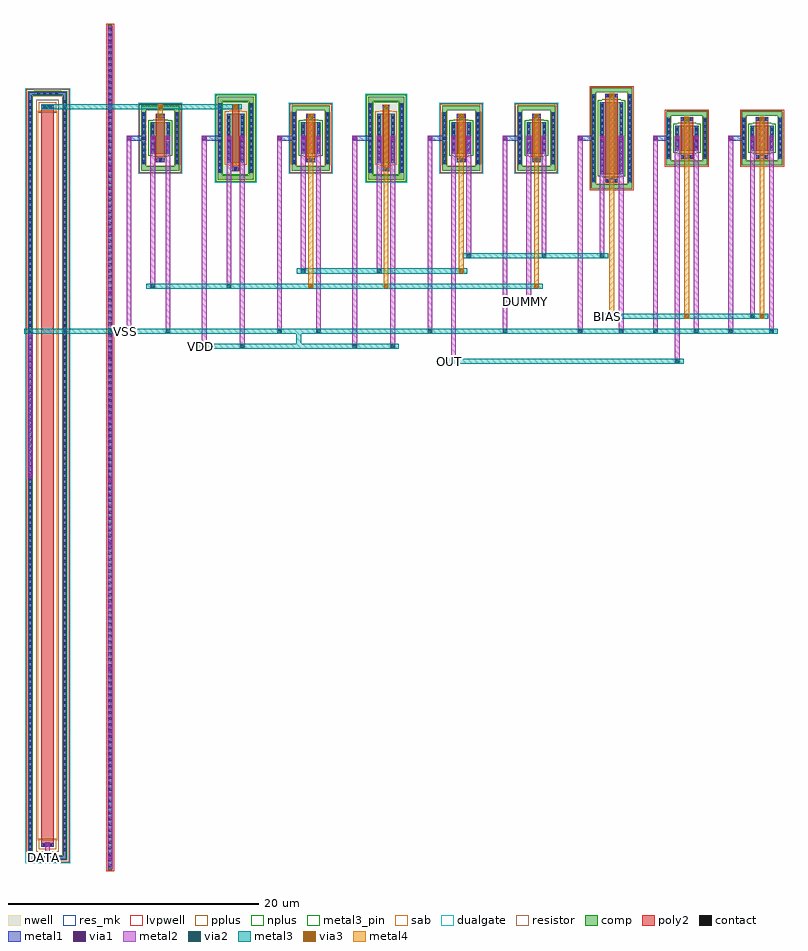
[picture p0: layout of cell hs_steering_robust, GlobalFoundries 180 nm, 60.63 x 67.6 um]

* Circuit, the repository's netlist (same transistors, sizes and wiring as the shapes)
* NGSPICE file created from hs_steering_robust.ext - technology: gf180mcuD

.subckt hs_steering_robust DATA OUT VSS BIAS DUMMY
X0 VSS a_n1100_4414# a_642_3750# VSS nfet_06v0 ad=1.1p pd=5.88u as=1.1p ps=5.88u w=2.5u l=0.7u
X1 a_n1100_4414# DATA VSS ppolyf_u_1k_6p0 r_width=1u r_length=58u
X2 a_5670_3750# a_642_3750# DUMMY VSS nfet_06v0 ad=1.1p pd=5.88u as=1.1p ps=5.88u w=2.5u l=0.7u
X3 VSS BIAS OUT VSS nfet_03v3 ad=0.88p pd=4.88u as=0.88p ps=4.88u w=2u l=1u
X4 a_5670_3750# a_3042_3750# OUT VSS nfet_06v0 ad=1.1p pd=5.88u as=1.1p ps=5.88u w=2.5u l=0.7u
X5 VSS a_n1100_4414# a_642_3750# VSS pfet_06v0 ad=1.7292p pd=8.74u as=1.7292p ps=8.74u w=3.93u l=0.55u
X6 VSS BIAS a_5670_3750# VSS nfet_03v3 ad=2.5344p pd=12.4u as=2.5344p ps=12.4u w=5.76u l=1u
X7 VSS BIAS BIAS VSS nfet_03v3 ad=0.88p pd=4.88u as=0.88p ps=4.88u w=2u l=1u
X8 VSS a_642_3750# a_3042_3750# VSS nfet_06v0 ad=1.1p pd=5.88u as=1.1p ps=5.88u w=2.5u l=0.7u
X9 VSS a_642_3750# a_3042_3750# VSS pfet_06v0 ad=1.7292p pd=8.74u as=1.7292p ps=8.74u w=3.93u l=0.55u
.ends

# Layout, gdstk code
import gdstk
lib = gdstk.Library(unit=1e-6, precision=1e-09)
def R(c, l, rs):  # rectangles x0, y0, x1, y1
    for r in rs: c.add(gdstk.rectangle(r[:2], r[2:], *l))
def A(c, l, x, y, w, h, nx, ny, dx, dy):  # array of equal rectangles
    R(c, l, [(x+i*dx, y+j*dy, x+i*dx+w, y+j*dy+h) for i in range(nx) for j in range(ny)])
def P(c, l, *ps):  # polygons
    for p in ps: c.add(gdstk.Polygon(p, *l))
nwell = (21, 0)
comp = (22, 0)
poly2 = (30, 0)
pplus = (31, 0)
nplus = (32, 0)
contact = (33, 0)
metal1 = (34, 0)
via1 = (35, 0)
metal2 = (36, 0)
via2 = (38, 0)
via3 = (40, 0)
metal3 = (42, 0)
metal3_pin = (42, 10)
metal4 = (46, 0)
sab = (49, 0)
dualgate = (55, 0)
resistor = (62, 0)
res_mk = (110, 5)
lvpwell = (204, 0)

hs_steering_robust = lib.new_cell('hs_steering_robust')
R(hs_steering_robust, nwell, [(8.405,16.535,11.595,23.465), (20.405,16.535,23.595,23.465)])
A(hs_steering_robust, comp, 2.49, 17.41, 3.02, 0.36, 3, 2, 12, 4.82)
A(hs_steering_robust, comp, 3.21, 18.75, 1.58, 2.5, 3, 1, 12, 0)
R(hs_steering_robust, comp, [(-0.18,-38.36,0.18,29), (-6.56,-37.6,-3.44,-37.24), (-6.56,-37.24,-6.2,23.38), (-3.8,-37.24,-3.44,23.38), (38.37,15.97,41.63,16.33), (38.37,16.33,38.73,23.67), (41.27,16.33,41.63,23.67), (8.565,16.695,11.435,17.055), (20.565,16.695,23.435,17.055), (8.565,17.055,8.925,22.945), (11.075,17.055,11.435,22.945), (20.565,17.055,20.925,22.945), (23.075,17.055,23.435,22.945), (39.06,17.12,40.94,22.88), (32.49,17.41,35.51,17.77), (2.49,17.77,2.85,22.23), (5.15,17.77,5.51,22.23), (14.49,17.77,14.85,22.23), (17.15,17.77,17.51,22.23), (26.49,17.77,26.85,22.23), (29.15,17.77,29.51,22.23), (32.49,17.77,32.85,22.23), (35.15,17.77,35.51,22.23), (44.37,17.85,47.63,18.21), (50.37,17.85,53.63,18.21), (9.285,18.035,10.715,21.965), (21.285,18.035,22.715,21.965), (44.37,18.21,44.73,21.79), (47.27,18.21,47.63,21.79), (50.37,18.21,50.73,21.79), (53.27,18.21,53.63,21.79), (33.21,18.75,34.79,21.25), (45.06,19,46.94,21), (51.06,19,52.94,21), (44.37,21.79,47.63,22.15), (50.37,21.79,53.63,22.15), (32.49,22.23,35.51,22.59), (8.565,22.945,11.435,23.305), (20.565,22.945,23.435,23.305), (-6.56,23.38,-3.44,23.74), (38.37,23.67,41.63,24.03)])
A(hs_steering_robust, poly2, 3.65, 18.07, 0.7, 3.86, 3, 1, 12, 0)
R(hs_steering_robust, poly2, [(-5.5,-36.54,-4.5,22.68), (39.5,16.44,40.5,23.56), (9.725,17.355,10.275,22.645), (21.725,17.355,22.275,22.645), (33.65,18.07,34.35,21.93), (45.5,18.32,46.5,21.68), (51.5,18.32,52.5,21.68)])
A(hs_steering_robust, pplus, 2.47, 17.39, 3.06, 0.4, 3, 2, 12, 4.82)
R(hs_steering_robust, pplus, [(-0.21,-38.39,0.21,29.03), (-6.075,-37.63,-3.925,-37.62), (-6.58,-37.62,-3.42,-37.21), (-6.58,-37.21,-6.17,-37.115), (-3.83,-37.21,-3.42,-37.115), (-6.59,-37.115,-6.17,23.255), (-3.83,-37.115,-3.41,23.255), (-5.7,-36.74,-4.3,-35.93), (38.35,15.95,41.65,16.35), (38.35,16.35,38.76,16.455), (41.24,16.35,41.65,16.455), (38.34,16.455,38.76,23.545), (41.24,16.455,41.66,23.545), (32.47,17.39,35.53,17.79), (2.47,17.79,2.88,17.895), (5.12,17.79,5.53,17.895), (14.47,17.79,14.88,17.895), (17.12,17.79,17.53,17.895), (26.47,17.79,26.88,17.895), (29.12,17.79,29.53,17.895), (32.47,17.79,32.88,17.895), (35.12,17.79,35.53,17.895), (9.495,17.805,10.505,17.875), (21.495,17.805,22.505,17.875), (44.35,17.83,47.65,18.23), (50.35,17.83,53.65,18.23), (9.125,17.875,10.875,22.125), (21.125,17.875,22.875,22.125), (2.46,17.895,2.88,22.105), (5.12,17.895,5.54,22.105), (14.46,17.895,14.88,22.105), (17.12,17.895,17.54,22.105), (26.46,17.895,26.88,22.105), (29.12,17.895,29.54,22.105), (32.46,17.895,32.88,22.105), (35.12,17.895,35.54,22.105), (44.35,18.23,44.76,18.335), (47.24,18.23,47.65,18.335), (50.35,18.23,50.76,18.335), (53.24,18.23,53.65,18.335), (44.34,18.335,44.76,21.665), (47.24,18.335,47.66,21.665), (50.34,18.335,50.76,21.665), (53.24,18.335,53.66,21.665), (44.35,21.665,44.76,21.77), (47.24,21.665,47.65,21.77), (50.35,21.665,50.76,21.77), (53.24,21.665,53.65,21.77), (44.35,21.77,47.65,22.17), (50.35,21.77,53.65,22.17), (-5.7,22.07,-4.3,22.88), (2.47,22.105,2.88,22.21), (5.12,22.105,5.53,22.21), (14.47,22.105,14.88,22.21), (17.12,22.105,17.53,22.21), (26.47,22.105,26.88,22.21), (29.12,22.105,29.53,22.21), (32.47,22.105,32.88,22.21), (35.12,22.105,35.53,22.21), (9.495,22.125,10.505,22.195), (21.495,22.125,22.505,22.195), (32.47,22.21,35.53,22.61), (-6.58,23.255,-6.17,23.35), (-3.83,23.255,-3.42,23.35), (-6.58,23.35,-3.42,23.76), (38.35,23.545,38.76,23.65), (41.24,23.545,41.65,23.65), (38.35,23.65,41.65,24.05), (-6.075,23.76,-3.925,23.77)])
A(hs_steering_robust, nplus, 3.42, 18.52, 1.16, 0.07, 3, 2, 12, 2.89)
A(hs_steering_robust, nplus, 3.05, 18.59, 1.9, 2.82, 3, 1, 12, 0)
R(hs_steering_robust, nplus, [(8.405,16.535,11.595,17.125), (20.405,16.535,23.595,17.125), (39.27,16.89,40.73,16.96), (38.9,16.96,41.1,23.04), (8.405,17.125,8.995,22.875), (11.005,17.125,11.595,22.875), (20.405,17.125,20.995,22.875), (23.005,17.125,23.595,22.875), (33.42,18.52,34.58,18.59), (33.05,18.59,34.95,21.41), (45.27,18.77,46.73,18.84), (51.27,18.77,52.73,18.84), (44.9,18.84,47.1,21.16), (50.9,18.84,53.1,21.16), (45.27,21.16,46.73,21.23), (51.27,21.16,52.73,21.23), (33.42,21.41,34.58,21.48), (8.405,22.875,11.595,23.465), (20.405,22.875,23.595,23.465), (39.27,23.04,40.73,23.11)])
A(hs_steering_robust, contact, -0.11, -38.16, 0.22, 0.22, 1, 143, 0, 0.47)
A(hs_steering_robust, contact, -5.815, -37.53, 0.22, 0.22, 4, 2, 0.47, 60.98)
A(hs_steering_robust, contact, -6.49, -36.885, 0.22, 0.22, 1, 128, 0, 0.47)
A(hs_steering_robust, contact, -3.73, -36.885, 0.22, 0.22, 1, 128, 0, 0.47)
A(hs_steering_robust, contact, 38.44, 16.6, 0.22, 0.22, 1, 15, 0, 0.47)
A(hs_steering_robust, contact, 41.34, 16.6, 0.22, 0.22, 1, 15, 0, 0.47)
A(hs_steering_robust, contact, 8.635, 17.305, 0.22, 0.22, 1, 12, 0, 0.47)
A(hs_steering_robust, contact, 11.145, 17.305, 0.22, 0.22, 1, 12, 0, 0.47)
A(hs_steering_robust, contact, 20.635, 17.305, 0.22, 0.22, 1, 12, 0, 0.47)
A(hs_steering_robust, contact, 23.145, 17.305, 0.22, 0.22, 1, 12, 0, 0.47)
A(hs_steering_robust, contact, 39.13, 17.305, 0.22, 0.22, 1, 12, 0, 0.47)
A(hs_steering_robust, contact, 40.65, 17.305, 0.22, 0.22, 1, 12, 0, 0.47)
A(hs_steering_robust, contact, 2.56, 18.01, 0.22, 0.22, 1, 9, 0, 0.47)
A(hs_steering_robust, contact, 5.22, 18.01, 0.22, 0.22, 1, 9, 0, 0.47)
A(hs_steering_robust, contact, 14.56, 18.01, 0.22, 0.22, 1, 9, 0, 0.47)
A(hs_steering_robust, contact, 17.22, 18.01, 0.22, 0.22, 1, 9, 0, 0.47)
A(hs_steering_robust, contact, 26.56, 18.01, 0.22, 0.22, 1, 9, 0, 0.47)
A(hs_steering_robust, contact, 29.22, 18.01, 0.22, 0.22, 1, 9, 0, 0.47)
A(hs_steering_robust, contact, 32.56, 18.01, 0.22, 0.22, 1, 9, 0, 0.47)
A(hs_steering_robust, contact, 35.22, 18.01, 0.22, 0.22, 1, 9, 0, 0.47)
A(hs_steering_robust, contact, 3.89, 18.14, 0.22, 0.22, 3, 2, 12, 3.5)
A(hs_steering_robust, contact, 9.355, 18.245, 0.22, 0.22, 1, 8, 0, 0.47)
A(hs_steering_robust, contact, 10.425, 18.245, 0.22, 0.22, 1, 8, 0, 0.47)
A(hs_steering_robust, contact, 21.355, 18.245, 0.22, 0.22, 1, 8, 0, 0.47)
A(hs_steering_robust, contact, 22.425, 18.245, 0.22, 0.22, 1, 8, 0, 0.47)
A(hs_steering_robust, contact, 44.44, 18.48, 0.22, 0.22, 1, 7, 0, 0.47)
A(hs_steering_robust, contact, 47.34, 18.48, 0.22, 0.22, 1, 7, 0, 0.47)
A(hs_steering_robust, contact, 50.44, 18.48, 0.22, 0.22, 1, 7, 0, 0.47)
A(hs_steering_robust, contact, 53.34, 18.48, 0.22, 0.22, 1, 7, 0, 0.47)
A(hs_steering_robust, contact, 3.28, 18.95, 0.22, 0.22, 1, 5, 0, 0.47)
A(hs_steering_robust, contact, 4.5, 18.95, 0.22, 0.22, 1, 5, 0, 0.47)
A(hs_steering_robust, contact, 15.28, 18.95, 0.22, 0.22, 1, 5, 0, 0.47)
A(hs_steering_robust, contact, 16.5, 18.95, 0.22, 0.22, 1, 5, 0, 0.47)
A(hs_steering_robust, contact, 27.28, 18.95, 0.22, 0.22, 1, 5, 0, 0.47)
A(hs_steering_robust, contact, 28.5, 18.95, 0.22, 0.22, 1, 5, 0, 0.47)
A(hs_steering_robust, contact, 33.28, 18.95, 0.22, 0.22, 1, 5, 0, 0.47)
A(hs_steering_robust, contact, 34.5, 18.95, 0.22, 0.22, 1, 5, 0, 0.47)
A(hs_steering_robust, contact, 45.13, 19.185, 0.22, 0.22, 1, 4, 0, 0.47)
A(hs_steering_robust, contact, 46.65, 19.185, 0.22, 0.22, 1, 4, 0, 0.47)
A(hs_steering_robust, contact, 51.13, 19.185, 0.22, 0.22, 1, 4, 0, 0.47)
A(hs_steering_robust, contact, 52.65, 19.185, 0.22, 0.22, 1, 4, 0, 0.47)
R(hs_steering_robust, contact, [(-5.345,-36.47,-5.125,-36.25), (-4.875,-36.47,-4.655,-36.25), (39.655,16.51,39.875,16.73), (40.125,16.51,40.345,16.73), (9.89,17.425,10.11,17.645), (21.89,17.425,22.11,17.645), (33.89,18.14,34.11,18.36), (45.655,18.39,45.875,18.61), (46.125,18.39,46.345,18.61), (51.655,18.39,51.875,18.61), (52.125,18.39,52.345,18.61), (45.655,21.39,45.875,21.61), (46.125,21.39,46.345,21.61), (51.655,21.39,51.875,21.61), (52.125,21.39,52.345,21.61), (33.89,21.64,34.11,21.86), (9.89,22.355,10.11,22.575), (21.89,22.355,22.11,22.575), (-5.345,22.39,-5.125,22.61), (-4.875,22.39,-4.655,22.61), (39.655,23.27,39.875,23.49), (40.125,23.27,40.345,23.49)])
A(hs_steering_robust, metal1, 2.555, 17.935, 0.23, 1.875, 3, 2, 12, 2.255)
A(hs_steering_robust, metal1, 5.215, 17.935, 0.23, 4.13, 3, 1, 12, 0)
A(hs_steering_robust, metal1, 3.81, 18.06, 0.38, 0.075, 3, 2, 12, 0.305)
A(hs_steering_robust, metal1, 3.66, 18.135, 0.68, 0.23, 3, 2, 12, 3.5)
A(hs_steering_robust, metal1, 1.31, 19.81, 1.51, 0.38, 3, 1, 12, 0)
A(hs_steering_robust, metal1, 37.31, 19.81, 1.36, 0.38, 3, 1, 6, 0)
A(hs_steering_robust, metal1, 3.81, 21.56, 0.38, 0.075, 3, 2, 12, 0.305)
R(hs_steering_robust, metal1, [(-0.19,-38.295,0.19,28.935), (-6.495,-37.535,-3.505,-37.305), (-6.495,-37.305,-6.265,-7.12), (-3.735,-37.305,-3.505,23.445), (-5.19,-36.55,-4.81,-36.475), (-5.49,-36.475,-4.51,-36.245), (-5.19,-36.245,-4.81,-36.17), (-6.57,-7.12,-6.19,-6.74), (-6.495,-6.74,-6.265,23.445), (39.81,16.43,40.19,16.505), (38.435,16.495,38.665,19.81), (41.335,16.495,41.565,23.505), (39.51,16.505,40.49,16.735), (39.81,16.735,40.19,16.81), (39.125,17.13,39.355,19.81), (40.645,17.13,40.875,19.81), (8.63,17.22,8.86,19.81), (11.14,17.22,11.37,22.78), (20.63,17.22,20.86,19.81), (23.14,17.22,23.37,22.78), (9.81,17.345,10.19,17.42), (21.81,17.345,22.19,17.42), (9.735,17.42,10.265,17.65), (21.735,17.42,22.265,17.65), (9.81,17.65,10.19,17.725), (21.81,17.65,22.19,17.725), (32.555,17.935,32.785,19.81), (35.215,17.935,35.445,22.065), (9.35,18.045,9.58,19.81), (10.42,18.045,10.65,19.81), (21.35,18.045,21.58,19.81), (22.42,18.045,22.65,19.81), (33.81,18.06,34.19,18.135), (33.66,18.135,34.34,18.365), (45.81,18.31,46.19,18.385), (51.81,18.31,52.19,18.385), (33.81,18.365,34.19,18.44), (44.435,18.375,44.665,19.81), (47.335,18.375,47.565,21.625), (50.435,18.375,50.665,19.81), (53.335,18.375,53.565,21.625), (45.51,18.385,46.49,18.615), (51.51,18.385,52.49,18.615), (45.81,18.615,46.19,18.69), (51.81,18.615,52.19,18.69), (3.275,18.76,3.505,19.81), (4.495,18.76,4.725,19.81), (15.275,18.76,15.505,19.81), (16.495,18.76,16.725,19.81), (27.275,18.76,27.505,19.81), (28.495,18.76,28.725,19.81), (33.275,18.76,33.505,19.81), (34.495,18.76,34.725,19.81), (45.125,19.01,45.355,19.81), (46.645,19.01,46.875,19.81), (51.125,19.01,51.355,19.81), (52.645,19.01,52.875,19.81), (3.2,19.81,3.58,20.19), (4.42,19.81,4.8,20.19), (7.31,19.81,8.895,20.19), (9.275,19.81,9.655,20.19), (10.345,19.81,10.725,20.19), (15.2,19.81,15.58,20.19), (16.42,19.81,16.8,20.19), (19.31,19.81,20.895,20.19), (21.275,19.81,21.655,20.19), (22.345,19.81,22.725,20.19), (27.2,19.81,27.58,20.19), (28.42,19.81,28.8,20.19), (31.31,19.81,32.82,20.19), (33.2,19.81,33.58,20.19), (34.42,19.81,34.8,20.19), (39.05,19.81,39.43,20.19), (40.57,19.81,40.95,20.19), (45.05,19.81,45.43,20.19), (46.57,19.81,46.95,20.19), (51.05,19.81,51.43,20.19), (52.57,19.81,52.95,20.19), (3.275,20.19,3.505,21.24), (4.495,20.19,4.725,21.24), (8.63,20.19,8.86,22.78), (9.35,20.19,9.58,21.955), (10.42,20.19,10.65,21.955), (15.275,20.19,15.505,21.24), (16.495,20.19,16.725,21.24), (20.63,20.19,20.86,22.78), (21.35,20.19,21.58,21.955), (22.42,20.19,22.65,21.955), (27.275,20.19,27.505,21.24), (28.495,20.19,28.725,21.24), (32.555,20.19,32.785,22.065), (33.275,20.19,33.505,21.24), (34.495,20.19,34.725,21.24), (38.435,20.19,38.665,23.505), (39.125,20.19,39.355,22.87), (40.645,20.19,40.875,22.87), (44.435,20.19,44.665,21.625), (45.125,20.19,45.355,20.99), (46.645,20.19,46.875,20.99), (50.435,20.19,50.665,21.625), (51.125,20.19,51.355,20.99), (52.645,20.19,52.875,20.99), (45.81,21.31,46.19,21.385), (51.81,21.31,52.19,21.385), (45.51,21.385,46.49,21.615), (51.51,21.385,52.49,21.615), (33.81,21.56,34.19,21.635), (45.81,21.615,46.19,21.69), (51.81,21.615,52.19,21.69), (33.66,21.635,34.34,21.865), (33.81,21.865,34.19,21.94), (9.81,22.275,10.19,22.35), (21.81,22.275,22.19,22.35), (-5.19,22.31,-4.81,22.385), (9.735,22.35,10.265,22.58), (21.735,22.35,22.265,22.58), (-5.49,22.385,-4.51,22.615), (9.81,22.58,10.19,22.655), (21.81,22.58,22.19,22.655), (-5.19,22.615,-4.81,22.69), (39.81,23.19,40.19,23.265), (39.51,23.265,40.49,23.495), (-6.495,23.445,-3.505,23.675), (39.81,23.495,40.19,23.57)])
A(hs_steering_robust, via1, -0.13, -37.49, 0.26, 0.26, 1, 14, 0, 5)
A(hs_steering_robust, via1, 3.87, 21.62, 0.26, 0.26, 3, 1, 12, 0)
R(hs_steering_robust, via1, [(-5.13,-36.49,-4.87,-36.23), (-6.51,-7.06,-6.25,-6.8), (1.37,19.87,1.63,20.13), (3.26,19.87,3.52,20.13), (4.48,19.87,4.74,20.13), (7.37,19.87,7.63,20.13), (9.335,19.87,9.595,20.13), (10.405,19.87,10.665,20.13), (13.37,19.87,13.63,20.13), (15.26,19.87,15.52,20.13), (16.48,19.87,16.74,20.13), (19.37,19.87,19.63,20.13), (21.335,19.87,21.595,20.13), (22.405,19.87,22.665,20.13), (25.37,19.87,25.63,20.13), (27.26,19.87,27.52,20.13), (28.48,19.87,28.74,20.13), (31.37,19.87,31.63,20.13), (33.26,19.87,33.52,20.13), (34.48,19.87,34.74,20.13), (37.37,19.87,37.63,20.13), (39.11,19.87,39.37,20.13), (40.63,19.87,40.89,20.13), (43.37,19.87,43.63,20.13), (45.11,19.87,45.37,20.13), (46.63,19.87,46.89,20.13), (49.37,19.87,49.63,20.13), (51.11,19.87,51.37,20.13), (52.63,19.87,52.89,20.13), (45.87,21.37,46.13,21.63), (51.87,21.37,52.13,21.63), (33.87,21.62,34.13,21.88), (9.87,22.335,10.13,22.595), (21.87,22.335,22.13,22.595), (-5.13,22.37,-4.87,22.63), (39.87,23.25,40.13,23.51)])
A(hs_steering_robust, metal2, 25.31, 4.41, 0.38, 15.78, 3, 1, 6, 0)
A(hs_steering_robust, metal2, 3.81, 21.56, 0.38, 0.38, 3, 1, 12, 0)
R(hs_steering_robust, metal2, [(-0.19,-38.295,0.19,28.935), (-5.19,-37.55,-4.81,-36.17), (-6.57,-7.12,-6.19,4.79), (27.2,2.01,27.58,20.19), (45.05,2.01,45.43,20.19), (7.31,3.21,7.69,20.19), (10.345,3.21,10.725,20.19), (19.31,3.21,19.69,20.19), (22.345,3.21,22.725,20.19), (1.31,4.41,1.69,20.19), (4.42,4.41,4.8,20.19), (13.31,4.41,13.69,20.19), (16.42,4.41,16.8,20.19), (40.57,4.41,40.95,20.19), (43.31,4.41,43.69,20.19), (46.57,4.41,46.95,20.19), (49.31,4.41,49.69,20.19), (52.57,4.41,52.95,20.19), (51.05,5.61,51.43,20.19), (33.2,6.81,33.58,20.19), (3.2,8.01,3.58,20.19), (9.275,8.01,9.655,20.19), (15.2,9.21,15.58,20.19), (21.275,9.21,21.655,20.19), (28.42,10.41,28.8,20.19), (34.42,10.41,34.8,20.19), (39.05,10.41,39.43,20.19), (45.81,21.31,46.19,21.69), (51.81,21.31,52.19,21.69), (33.81,21.56,34.19,21.94), (9.81,22.275,10.19,22.655), (21.81,22.275,22.19,22.655), (-5.19,22.31,-4.81,22.69), (39.81,23.19,40.19,23.57)])
A(hs_steering_robust, via2, 25.37, 4.47, 0.26, 0.26, 3, 1, 6, 0)
A(hs_steering_robust, via2, 3.87, 21.62, 0.26, 0.26, 3, 1, 12, 0)
R(hs_steering_robust, via2, [(-5.13,-37.49,-4.87,-37.23), (27.26,2.07,27.52,2.33), (45.11,2.07,45.37,2.33), (7.37,3.27,7.63,3.53), (10.405,3.27,10.665,3.53), (19.37,3.27,19.63,3.53), (22.405,3.27,22.665,3.53), (-6.51,4.47,-6.25,4.73), (-0.13,4.47,0.13,4.73), (1.37,4.47,1.63,4.73), (4.48,4.47,4.74,4.73), (13.37,4.47,13.63,4.73), (16.48,4.47,16.74,4.73), (40.63,4.47,40.89,4.73), (43.37,4.47,43.63,4.73), (46.63,4.47,46.89,4.73), (49.37,4.47,49.63,4.73), (52.63,4.47,52.89,4.73), (51.11,5.67,51.37,5.93), (33.26,6.87,33.52,7.13), (3.26,8.07,3.52,8.33), (9.335,8.07,9.595,8.33), (15.26,9.27,15.52,9.53), (21.335,9.27,21.595,9.53), (28.48,10.47,28.74,10.73), (34.48,10.47,34.74,10.73), (39.11,10.47,39.37,10.73), (45.87,21.37,46.13,21.63), (51.87,21.37,52.13,21.63), (33.87,21.62,34.13,21.88), (9.87,22.335,10.13,22.595), (21.87,22.335,22.13,22.595), (-5.13,22.37,-4.87,22.63), (39.87,23.25,40.13,23.51)])
A(hs_steering_robust, via3, 39.87, 5.67, 0.26, 0.26, 3, 1, 6, 0)
A(hs_steering_robust, via3, 3.87, 21.62, 0.26, 0.26, 3, 1, 12, 0)
R(hs_steering_robust, via3, [(15.87,8.07,16.13,8.33), (21.87,8.07,22.13,8.33), (33.87,8.07,34.13,8.33), (27.87,9.27,28.13,9.53), (45.87,21.37,46.13,21.63), (51.87,21.37,52.13,21.63), (33.87,21.62,34.13,21.88), (21.87,22.335,22.13,22.595), (9.87,22.35,10.13,22.61), (3.87,22.37,4.13,22.63), (39.87,23.25,40.13,23.51)])
A(hs_steering_robust, metal3, 3.81, 21.56, 0.38, 0.38, 3, 1, 12, 0)
R(hs_steering_robust, metal3, [(-5.5,-37.56,-4.5,-37.16), (26.89,2,45.74,2.4), (39.5,5.6,52.5,6), (32.89,6.8,33.89,7.2), (2.89,8,34.5,8.4), (14.89,9.2,28.5,9.6), (28.11,10.4,39.74,10.8), (45.81,21.31,46.19,21.69), (51.81,21.31,52.19,21.69), (33.81,21.56,34.19,21.94), (21.81,22.275,22.19,22.655), (39.81,23.19,40.19,23.57)])
P(hs_steering_robust, metal3, [(7,3.2),(7,3.6),(14.82,3.6),(14.82,4.4),(-6.88,4.4),(-6.88,4.8),(53.26,4.8),(53.26,4.4),(15.22,4.4),(15.22,3.6),(23.035,3.6),(23.035,3.2)],
  [(9.81,22.275),(9.81,22.3),(-5.5,22.3),(-5.5,22.7),(10.5,22.7),(10.5,22.3),(10.19,22.3),(10.19,22.275)])
R(hs_steering_robust, metal3_pin, [(-5.4,-37.46,-5.2,-37.26), (26.99,2.1,27.19,2.3), (7.1,3.3,7.3,3.5), (1.1,4.5,1.3,4.7), (39.6,5.7,39.8,5.9), (32.99,6.9,33.19,7.1)])
R(hs_steering_robust, metal4, [(39.81,5.61,40.19,23.57), (45.81,5.61,46.19,21.69), (51.81,5.61,52.19,21.69), (15.81,8.01,16.19,21.94), (21.81,8.01,22.19,22.655), (33.81,8.01,34.19,21.94), (27.81,9.21,28.19,21.94), (3.81,21.56,4.19,22.69), (9.81,22.275,10.19,22.69)])
R(hs_steering_robust, sab, [(-5.78,-36.03,-4.22,22.17), (-5.78,-35.93,-4.22,22.07)])
A(hs_steering_robust, dualgate, 2.25, 17.17, 3.5, 5.66, 3, 1, 12, 0)
R(hs_steering_robust, dualgate, [(-6.8,-37.84,-3.2,23.98), (8.325,16.455,11.675,23.545), (20.325,16.455,23.675,23.545), (32.25,17.17,35.75,22.83)])
R(hs_steering_robust, resistor, [(-5.9,-36.94,-4.1,23.08)])
R(hs_steering_robust, res_mk, [(-5.78,-35.93,-4.22,22.07), (-5.5,-35.93,-4.5,22.07)])
A(hs_steering_robust, lvpwell, 2.33, 17.25, 3.34, 5.5, 3, 1, 12, 0)
R(hs_steering_robust, lvpwell, [(-0.3,-38.48,0.3,29.12), (-6.72,-37.76,-3.28,23.9), (38.25,15.85,41.75,24.15), (32.33,17.25,35.67,22.75), (44.25,17.73,47.75,22.27), (50.25,17.73,53.75,22.27)])
hs_steering_robust.add(gdstk.Label('DATA', (-5.3,-37.36), layer=42, texttype=10))
hs_steering_robust.add(gdstk.Label('OUT', (27.09,2.2), layer=42, texttype=10))
hs_steering_robust.add(gdstk.Label('VDD', (7.2,3.4), layer=42, texttype=10))
hs_steering_robust.add(gdstk.Label('VSS', (1.2,4.6), layer=42, texttype=10))
hs_steering_robust.add(gdstk.Label('BIAS', (39.7,5.8), layer=42, texttype=10))
hs_steering_robust.add(gdstk.Label('DUMMY', (33.09,7), layer=42, texttype=10))

lib.write_gds('hs_steering_robust.gds')
